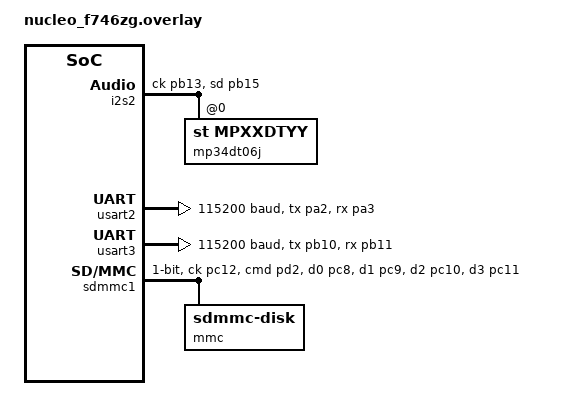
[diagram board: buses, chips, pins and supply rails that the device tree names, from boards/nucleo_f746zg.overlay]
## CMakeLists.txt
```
#-------------------------------------------------------------------------------
# Zephyr Example Application
#
# Copyright (c) 2021 Nordic Semiconductor ASA
# SPDX-License-Identifier: Apache-2.0

cmake_minimum_required(VERSION 3.13.1)
find_package(Zephyr REQUIRED HINTS $ENV{ZEPHYR_BASE})

project(app LANGUAGES C)

add_subdirectory(src)
```

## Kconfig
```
# Copyright (c) 2021 Nordic Semiconductor ASA
# SPDX-License-Identifier: Apache-2.0
#
# This file is the application Kconfig entry point. All application Kconfig
# options can be defined here or included via other application Kconfig files.
# You can browse these options using the west targets menuconfig (terminal) or
# guiconfig (GUI).

menu "Zephyr"
source "Kconfig.zephyr"
endmenu

module = APP
module-str = APP
source "subsys/logging/Kconfig.template.log_config"

config EXTERNAL_RTC
    bool "Use the external RTC instead of the internal one"
```

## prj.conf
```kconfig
# Copyright (c) 2021 Nordic Semiconductor ASA
# SPDX-License-Identifier: Apache-2.0
#
# This file contains selected Kconfig options for the application.

# Audio
CONFIG_AUDIO=y
CONFIG_I2S=y
CONFIG_I2S_STM32=y
CONFIG_AUDIO_DMIC=y
CONFIG_AUDIO_MPXXDTYY=y

# DMA
CONFIG_DMA=y
CONFIG_DMA_STM32=y

# RTT logging
CONFIG_LOG=y
CONFIG_UART_CONSOLE=n
CONFIG_RTT_CONSOLE=y
CONFIG_USE_SEGGER_RTT=y

CONFIG_APP_LOG_LEVEL_DBG=y

# MPU
CONFIG_MPU=y

# FPU
CONFIG_FPU=y

# Disable data cache for PDM buffer
CONFIG_DCACHE=y
CONFIG_NOCACHE_MEMORY=y

# TFLite
CONFIG_CPP=y
CONFIG_STD_CPP17=y
CONFIG_TENSORFLOW_LITE_MICRO=y
CONFIG_TENSORFLOW_LITE_MICRO_CMSIS_NN_KERNELS=y

CONFIG_CMSIS_DSP=y
CONFIG_CMSIS_DSP_COMPLEXMATH=y
CONFIG_CMSIS_DSP_BASICMATH=y
CONFIG_CMSIS_DSP_STATISTICS=y
CONFIG_CMSIS_DSP_TRANSFORM=y

# FS and SD card
CONFIG_DISK_ACCESS=y
CONFIG_FILE_SYSTEM=y
CONFIG_FAT_FILESYSTEM_ELM=y
CONFIG_FS_FATFS_LFN=y

# UART
CONFIG_SERIAL=y
CONFIG_UART_INTERRUPT_DRIVEN=y

# RTC
CONFIG_RTC=y
# CONFIG_EXTERNAL_RTC=y

CONFIG_MAIN_STACK_SIZE=2048
```

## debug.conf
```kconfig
# Copyright (c) 2021 Nordic Semiconductor ASA
# SPDX-License-Identifier: Apache-2.0
#
# This is a Kconfig fragment which can be used to enable debug-related options
# in the application. See the README for more details.

# compiler
CONFIG_NO_OPTIMIZATIONS=y
CONFIG_DEBUG=y
CONFIG_DEBUG_INFO=y

# logging
CONFIG_APP_LOG_LEVEL_DBG=y
```

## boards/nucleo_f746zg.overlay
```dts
/ {
    soc {
        i2s2: i2s@40003800 {
            compatible = "st,stm32-i2s";
            #address-cells = <1>;
            #size-cells = <0>;
            reg = <0x40003800 0x400>;
            clocks = <&rcc STM32_CLOCK_BUS_APB1 0x00004000>, <&rcc STM32_SRC_PLLI2S_R I2S_SEL(0)>;
            interrupts = <36 5>;
            dmas = <&dma1 4 0 0x400 0x3
				    &dma1 3 0 0x400 0x3>;
			dma-names = "tx", "rx";
            pinctrl-0 = <&i2s2_ck_pb13 &i2s2_sd_pb15>;
            pinctrl-names = "default";
            status = "okay";

            mp34dt06j: mp34dt06j@0{
                compatible = "st,mpxxdtyy";
                status = "okay";
                reg = <0x0>;
            };
        
        };
    };

    clocks {
		plli2s: plli2s {
			#clock-cells = <0>;
			compatible = "st,stm32f4-plli2s-clock";
            mul-n = <192>;
            div-r = <5>;
            clocks = <&clk_hse>;
            clock-names = "plli2s";
			status = "okay";
		};
	};
};

&rcc {
	clocks = <&pll>;
	clock-frequency = <DT_FREQ_M(216)>;
	ahb-prescaler = <1>;
	apb1-prescaler = <4>;
	apb2-prescaler = <2>;
};

&pll {
	div-m = <8>;
	mul-n = <432>;
	div-p = <2>;
	div-q = <9>;
	clocks = <&clk_hse>;
	status = "okay";
};

// Conflicts with I2S2 on PB13
&mac {
    status = "disabled";
    pinctrl-0 = <>;
};

&dma1 {
    status = "okay";
};

&usart2 {
    status = "okay";
    pinctrl-0 = <&usart2_tx_pa2 &usart2_rx_pa3>;
    pinctrl-names = "default";
    current-speed = <115200>;
};

&usart3 {
    status = "okay";
    pinctrl-0 = <&usart3_tx_pb10 &usart3_rx_pb11>;
    pinctrl-names = "default";
    current-speed = <115200>;
};

&sdmmc1 {
    status = "okay";
    bus-width = <1>;
    pinctrl-names = "default";
    pinctrl-0 = <&sdmmc1_ck_pc12 
                &sdmmc1_cmd_pd2 
                &sdmmc1_d0_pc8 
                &sdmmc1_d1_pc9 
                &sdmmc1_d2_pc10
                &sdmmc1_d3_pc11>;

    mmc {
        compatible = "zephyr,sdmmc-disk";
        status = "okay";
    };
};
```

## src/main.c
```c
/*
 * Copyright (c) 2021 Nordic Semiconductor ASA
 * SPDX-License-Identifier: Apache-2.0
 */

#include <zephyr/kernel.h>
#include <zephyr/devicetree.h>
#include <zephyr/drivers/gpio.h>

#include <zephyr/logging/log.h>

#include "audio_proc.h"
#include "audio_acq.h"
#include "bt_ncp.h"
#include "microphone.h"

#define BT_CONN_TIMEOUT_MS (60000U)

LOG_MODULE_REGISTER(main, CONFIG_APP_LOG_LEVEL);

K_THREAD_DEFINE(audio_acq_thread,
				AUDIO_ACQ_STACK_SIZE, 
				audio_acq_run, 
				NULL, NULL, NULL, 
				AUDIO_ACQ_PRIO, 0, 0);

K_THREAD_DEFINE(audio_proc_thread,
				AUDIO_PROC_STACK_SIZE, 
				audio_proc_run, 
				NULL, NULL, NULL, 
				AUDIO_PROC_PRIO, 0, 0);

K_THREAD_DEFINE(bt_ncp_thread,
				BT_NCP_STACK_SIZE,
				bt_ncp_run,
				NULL, NULL, NULL,
				BT_NCP_PRIO, 0, 0);

int main(void)
{
	int ret;
	
	LOG_INF("Application start");
	
	ret = audio_acq_init();
	if (ret != 0)
	{
		return -1;
	}

	ret = audio_proc_init();
	if (ret != 0)
	{
		return -1;
	}

	ret = bt_ncp_init();
	if (ret != 0)
	{
		return -1;
	}

	bt_ncp_wait_for_connection(BT_CONN_TIMEOUT_MS);

	audio_acq_start();

	return 0;
}
```
